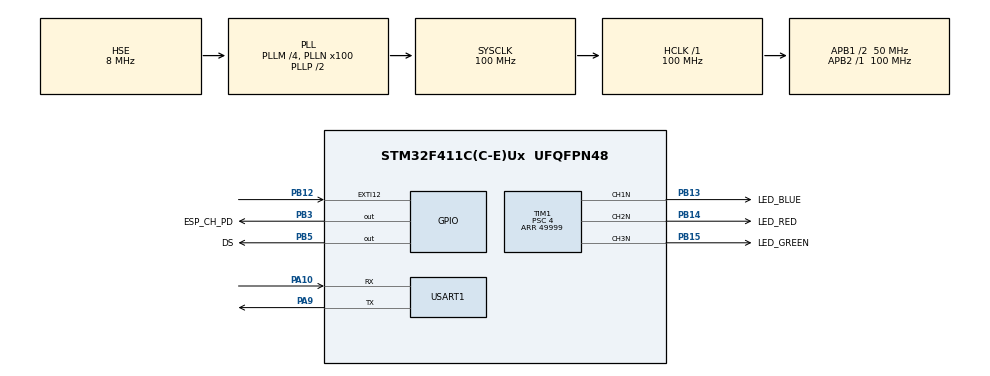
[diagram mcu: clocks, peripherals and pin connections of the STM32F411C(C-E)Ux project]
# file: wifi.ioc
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Mcu.Family=STM32F4
Mcu.Name=STM32F411C(C-E)Ux
Mcu.Package=UFQFPN48
NVIC.EXTI15_10_IRQn=true\:0\:0\:false\:false\:true\:true\:true
NVIC.PriorityGroup=NVIC_PRIORITYGROUP_4
NVIC.TIM2_IRQn=true\:0\:0\:false\:false\:true\:true\:true
NVIC.USART1_IRQn=true\:0\:0\:false\:false\:true\:true\:true
PA10.Mode=Asynchronous
PA10.Signal=USART1_RX
PA9.Mode=Asynchronous
PA9.Signal=USART1_TX
PB12.GPIO_ModeDefaultEXTI=GPIO_MODE_IT_RISING
PB12.Signal=GPXTI12
PB13.GPIO_Label=LED_BLUE
PB13.Mode=PWM Generation1 CH1N
PB13.Signal=TIM1_CH1N
PB14.GPIO_Label=LED_RED
PB14.Mode=PWM Generation2 CH2N
PB14.Signal=TIM1_CH2N
PB15.GPIO_Label=LED_GREEN
PB15.Mode=PWM Generation3 CH3N
PB15.Signal=TIM1_CH3N
PB3.GPIO_Label=ESP_CH_PD
PB3.PinState=GPIO_PIN_SET
PB3.Signal=GPIO_Output
PB5.GPIO_Label=DS
PB5.GPIO_ModeDefaultOutputPP=GPIO_MODE_OUTPUT_OD
PB5.PinState=GPIO_PIN_SET
PB5.Signal=GPIO_Output
PC14-OSC32_IN.Mode=LSE-External-Oscillator
PC14-OSC32_IN.Signal=RCC_OSC32_IN
PC15-OSC32_OUT.Mode=LSE-External-Oscillator
PC15-OSC32_OUT.Signal=RCC_OSC32_OUT
PH0\ -\ OSC_IN.Mode=HSE-External-Oscillator
PH0\ -\ OSC_IN.Signal=RCC_OSC_IN
PH1\ -\ OSC_OUT.Mode=HSE-External-Oscillator
PH1\ -\ OSC_OUT.Signal=RCC_OSC_OUT
ProjectManager.HeapSize=0x200
ProjectManager.StackSize=0x400
ProjectManager.TargetToolchain=STM32CubeIDE
RCC.48MHZClocksFreq_Value=50000000
RCC.AHBFreq_Value=100000000
RCC.APB1CLKDivider=RCC_HCLK_DIV2
RCC.APB1Freq_Value=50000000
RCC.APB1TimFreq_Value=100000000
RCC.APB2Freq_Value=100000000
RCC.APB2TimFreq_Value=100000000
RCC.CortexFreq_Value=100000000
RCC.HCLKFreq_Value=100000000
RCC.HSE_VALUE=8000000
RCC.HSI_VALUE=16000000
RCC.PLLM=4
RCC.PLLN=100
RCC.PLLSourceVirtual=RCC_PLLSOURCE_HSE
RCC.RCC_RTC_Clock_Source=RCC_RTCCLKSOURCE_LSE
RCC.RCC_RTC_Clock_SourceVirtual=RCC_RTCCLKSOURCE_LSE
RCC.SYSCLKFreq_VALUE=100000000
RCC.SYSCLKSource=RCC_SYSCLKSOURCE_PLLCLK
RCC.VCOOutputFreq_Value=200000000
TIM1.Channel-PWM\ Generation1\ CH1N=TIM_CHANNEL_1
TIM1.Channel-PWM\ Generation2\ CH2N=TIM_CHANNEL_2
TIM1.Channel-PWM\ Generation3\ CH3N=TIM_CHANNEL_3
TIM1.OCNPolarity_1=TIM_OCNPOLARITY_LOW
TIM1.OCNPolarity_2=TIM_OCNPOLARITY_LOW
TIM1.OCNPolarity_3=TIM_OCNPOLARITY_LOW
TIM1.Period=49999
TIM1.Prescaler=4
TIM2.Prescaler=79
USART1.VirtualMode=VM_ASYNC
VP_RTC_VS_RTC_Activate.Mode=RTC_Enabled
VP_RTC_VS_RTC_Calendar.Mode=RTC_Calendar
VP_TIM2_VS_ClockSourceINT.Mode=Internal
board=custom

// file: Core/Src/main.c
/* USER CODE BEGIN Header */
/**
  ******************************************************************************
  * @file           : main.c
  * @brief          : Main program body
  ******************************************************************************
  * @attention
  *
  * <h2><center>&copy; Copyright (c) 2021 STMicroelectronics.
  * All rights reserved.</center></h2>
  *
  * This software component is licensed by ST under BSD 3-Clause license,
  * the "License"; You may not use this file except in compliance with the
  * License. You may obtain a copy of the License at:
  *                        opensource.org/licenses/BSD-3-Clause
  *
  ******************************************************************************
  */
/* USER CODE END Header */
#include "main.h"
#include "rtc.h"
#include "tim.h"
#include "usart.h"
#include "gpio.h"

/* USER CODE BEGIN Includes */
#include "stdlib.h"
#include <string.h>
#include <stdio.h>
#include "math.h"
#include "esp.h"
#include "web.h"
#include "wire.h"
#include "ds18b20.h"

/* USER CODE END Includes */

/* USER CODE BEGIN PD */

// tutaj

/* USER CODE END PD */

/* USER CODE BEGIN PV */
typedef char log_line[41];

float temperature1;
float temperature2;
float result;
char temp_char_air[5];
char temp_char_water[5];
char esp_IP[1000]; //30
char IP_Request[20] = {"AT+CIPSTA?"};//AT+CIPSTA?
int ph = 'k'+1;
int interrupt_flag=0;
uint8_t flag=0;
uint8_t second_prev=0;
//int log_num=0;
//log_line log_tab[10]; // tablica logów
//char logg[40]="<p><b> --:--:-- , --:--:--</b> </p>\r\n";

uint8_t ds1[]={0x28,0x5e,0xe3,0xfb,0x0c,0x00,0x00,0xe9}; // adres termometru bez obudowy
uint8_t ds2[]={0x28,0xd5,0x7f,0xcc,0x2b,0x20,0x01,0xd2}; // adres termometru w obudowie
uint8_t moj_scratchpad[DS18B20_SCRATCHPAD_SIZE]; // testowy

RTC_HandleTypeDef hrtc;
RTC_TimeTypeDef sTime;
RTC_DateTypeDef sDate;

/* USER CODE END PV */

void SystemClock_Config(void);
/* USER CODE BEGIN PFP */

void Log_Time(void); // pobranie aktualnego czasu i wpisanie aktualnego loga

// tu powinna być tylko deklaracja funkcji, a poniżej maina jej ciało, no ale dobra
void HAL_GPIO_EXTI_Callback(uint16_t GPIO_Pin) // funkcja z redefinicji
{

	  Log_Time();
	//interrupt_flag=1;
	//interrupt++;

  /* NOTE: This function Should not be modified, when the callback is needed,
           the HAL_GPIO_EXTI_Callback could be implemented in the user file
   */
}

/* USER CODE END PFP */

/* USER CODE BEGIN 0 */

// Funkcja obliczająca korekcję gamma i ustawiająca jasność diody
void set_led_brightness(TIM_HandleTypeDef * timer,
		uint32_t channel, uint8_t brightness)
{
	int32_t value = powf((double) brightness / 255.0, 2.2) * 49999;
	__HAL_TIM_SET_COMPARE(timer, channel, value);
}
// Funkcja ustawiająca kolor świecenia diody RGB
void set_color(uint8_t, uint8_t, uint8_t);

/* USER CODE END 0 */

int main(void)
{
  /* USER CODE BEGIN 1 */

	int web_state = 0;

	//uint32_t sec;

  /* USER CODE END 1 */

  /* MCU Configuration--------------------------------------------------------*/

  /* Reset of all peripherals, Initializes the Flash interface and the Systick. */
  HAL_Init();

  /* Configure the system clock */
  SystemClock_Config();

  /* Initialize all configured peripherals */
  MX_GPIO_Init();
  MX_TIM1_Init();
  MX_USART1_UART_Init();
  MX_TIM2_Init();
  MX_RTC_Init();
  /* USER CODE BEGIN 2 */

  HAL_TIMEx_PWMN_Start(&htim1, TIM_CHANNEL_1);
  HAL_TIMEx_PWMN_Start(&htim1, TIM_CHANNEL_2);
  HAL_TIMEx_PWMN_Start(&htim1, TIM_CHANNEL_3);

  if(ds18b20_init() != HAL_OK) Error_Handler();
  //if(ds18b20_read_address(ds1)!= HAL_OK)Error_Handler(); // do odczytywania adresów czujników

  web_def(); // przepisanie stron internetowych

//  if (esp_setup(&huart1, "BUS OBSERWACYJNY 1504", "HUNDERTWASSERHAUS"))
//	  set_color(100, 100, 0);
//  else
//	  set_color(30, 30, 0);           //////// Docelowy router

  if (esp_setup(&huart1, "BUS OBSERWACYJNY 1504", "HUNDERTWASSERHAUS"))
	  set_color(100, 100, 0);
  else
	  set_color(30, 30, 0);

  ///HAL_Delay(500);
  //esp_send_data_and_close(&huart1, esp_recv_mux,IP_Request); //IP_Request
  //esp_getIP(&huart1,esp_IP);
  	///  esp_send_cmd(&huart1, &IP_Request);
	//esp_send_data_and_close(&huart1, esp_recv_mux, webpage); // dodałem, żeby wysyłało stronę zanim wejdzie do while
	//esp_restart_int_recv(&huart1);

  //  //set time
    if(HAL_RTCEx_BKUPRead(&hrtc,RTC_BKP_DR1) != 0x32F2) // próba zrobienia, żeby się nie resetowało
    {
    sTime.Hours = 13;
    sTime.Minutes = 23;
    sTime.Seconds = 30;
    HAL_RTC_SetTime(&hrtc,&sTime, RTC_FORMAT_BIN);
    }

    sDate.Date = 18;
    sDate.Month = RTC_MONTH_MARCH;
    sDate.WeekDay = RTC_WEEKDAY_MONDAY;
    sDate.Year = 22;
    HAL_RTC_SetDate(&hrtc,&sDate, RTC_FORMAT_BIN);

  /* USER CODE END 2 */

  /* Infinite loop */
  while (1)
  {

    /* USER CODE BEGIN 3 */

	  // Obsługujemy dane przychodzące przez połączenie TCP,
	  // jeśli w przerwaniu ustawiono flagę esp_recv_flag

//	  HAL_Delay(15000);
//	  esp_send_data_and_close(&huart1, esp_recv_mux, frontpage);
//	  HAL_Delay(15000);

	  if (esp_recv_flag == 1)
	  {
		select_web(&huart1, &web_state);
	  }

	  ds18b20_start_measure(ds1);
	  temperature1 = ds18b20_get_temp(ds1);
	  sprintf(temp_char_air,"%0.1f",temperature1);

	  ds18b20_start_measure(ds2);
	  temperature2 = ds18b20_get_temp(ds2);
	  sprintf(temp_char_water,"%0.1f",temperature2);

	  //strcat(&heizung[216], temp_char);
	  heizung[232] = temp_char_air[0];
	  heizung[233] = temp_char_air[1];
	  heizung[234] = temp_char_air[2];
	  heizung[235] = temp_char_air[3];

	  heizung[285] = temp_char_water[0];
	  heizung[286] = temp_char_water[1];
	  heizung[287] = temp_char_water[2];
	  heizung[288] = temp_char_water[3];

	  // sprawdź z ciekawości co jest w heizung[220...]
  }
  /* USER CODE END 3 */
}

void SystemClock_Config(void)
{
  RCC_OscInitTypeDef RCC_OscInitStruct = {0};
  RCC_ClkInitTypeDef RCC_ClkInitStruct = {0};

  /** Configure the main internal regulator output voltage
  */
  __HAL_RCC_PWR_CLK_ENABLE();
  __HAL_PWR_VOLTAGESCALING_CONFIG(PWR_REGULATOR_VOLTAGE_SCALE1);
  /** Initializes the RCC Oscillators according to the specified parameters
  * in the RCC_OscInitTypeDef structure.
  */
  RCC_OscInitStruct.OscillatorType = RCC_OSCILLATORTYPE_HSE|RCC_OSCILLATORTYPE_LSE;
  RCC_OscInitStruct.HSEState = RCC_HSE_ON;
  RCC_OscInitStruct.LSEState = RCC_LSE_ON;
  RCC_OscInitStruct.PLL.PLLState = RCC_PLL_ON;
  RCC_OscInitStruct.PLL.PLLSource = RCC_PLLSOURCE_HSE;
  RCC_OscInitStruct.PLL.PLLM = 4;
  RCC_OscInitStruct.PLL.PLLN = 100;
  RCC_OscInitStruct.PLL.PLLP = RCC_PLLP_DIV2;
  RCC_OscInitStruct.PLL.PLLQ = 4;
  if (HAL_RCC_OscConfig(&RCC_OscInitStruct) != HAL_OK)
  {
    Error_Handler();
  }
  /** Initializes the CPU, AHB and APB buses clocks
  */
  RCC_ClkInitStruct.ClockType = RCC_CLOCKTYPE_HCLK|RCC_CLOCKTYPE_SYSCLK
                              |RCC_CLOCKTYPE_PCLK1|RCC_CLOCKTYPE_PCLK2;
  RCC_ClkInitStruct.SYSCLKSource = RCC_SYSCLKSOURCE_PLLCLK;
  RCC_ClkInitStruct.AHBCLKDivider = RCC_SYSCLK_DIV1;
  RCC_ClkInitStruct.APB1CLKDivider = RCC_HCLK_DIV2;
  RCC_ClkInitStruct.APB2CLKDivider = RCC_HCLK_DIV1;

  if (HAL_RCC_ClockConfig(&RCC_ClkInitStruct, FLASH_LATENCY_3) != HAL_OK)
  {
    Error_Handler();
  }
}

/* USER CODE BEGIN 4 */

void Log_Time(void){

	int i=644;
	char seconds[3]={0,0,0};
	char minutes[3]={0,0,0};
	char hours[3]={0,0,0};
	char date[3]={0,0,0};
	char month[3]={0,0,0};
	char year[3]={0,0,0};

	  HAL_RTC_GetTime(&hrtc,&sTime, RTC_FORMAT_BIN);
	  HAL_RTC_GetDate(&hrtc,&sDate, RTC_FORMAT_BIN);

	  if(second_prev != sTime.Seconds){

		  itoa(sTime.Seconds,seconds,10);
		  itoa(sTime.Minutes,minutes,10);
		  itoa(sTime.Hours,hours,10);
		  itoa(sDate.Date,date,10);
		  itoa(sDate.Month,month,10);
		  itoa(sDate.Year,year,10);

		  if (seconds[1]=='\0'){
			  seconds[1]='0';
			 }
		  if(minutes[1]=='\0'){
			  minutes[1]='0';
			 }
		  if(hours[1]=='\0'){
			  hours[1]='0';
			 }
		  if(date[1]=='\0'){
			  date[1]='0';
			 }
		  if(month[1]=='\0'){
			  month[1]='0';
			 }
		  if(year[1]=='\0'){
			  year[1]='0';
			 }

	////////////// hours:minutes:seconds //////////////

		  if(sTime.Seconds < 10){
		  presence[298]=seconds[1];
		  presence[299]=seconds[0];
		  }
		  else{
			  presence[298]=seconds[0];
			  presence[299]=seconds[1];
		  }

		  if (sTime.Minutes < 10){
		  presence[295]=minutes[1];
		  presence[296]=minutes[0];
		  }
		  else{
			  presence[295]=minutes[0];
			  presence[296]=minutes[1];
		  }

		  if (sTime.Hours < 10){
		  presence[292]=hours[1];
		  presence[293]=hours[0];
		  }
		  else{
			  presence[292]=hours[0];
			  presence[293]=hours[1];
		  }

	///////// year:month:day ////////////////////////

		  if(sDate.Date < 10){
		  presence[287]=date[1];
		  presence[288]=date[0];
		  }
		  else{
			  presence[287]=date[0];
			  presence[288]=date[1];
		  }

		  if (sDate.Month < 10){
		  presence[284]=month[1];
		  presence[285]=month[0];
		  }
		  else{
			  presence[284]=month[0];
			  presence[285]=month[1];
		  }

		  if (sDate.Year < 10){
		  presence[281]=year[1];
		  presence[282]=year[0];
		  }
		  else{
			  presence[281]=year[0];
			  presence[282]=year[1];
		  }

	////// shift of logs //////////////////////// 311
		  while(i>311){
			  presence[i]=presence[i-37];
			  i--;
		  }
		  strcat((char*)presence[281],(char*)("YY:MM:DD , HH:MM:SS"));
		  presence[281]='Y';//(char)("YY:MM:DD , HH:MM:SS"); //{"YY:MM:DD , HH:MM:SS"} // (char)"Y"; //;

		  second_prev = sTime.Seconds;

	  }
	  //logi[65] = sTime.Seconds;

	  //strcat(presence, "<p><b>Obecnosc w pomieszczeniu:  </b> </p>\r\n");
	  //presence_page(UART_HandleTypeDef * uart ,*web_state);
	  //esp_send_data_and_close(&huart1, esp_recv_mux, presence);

	  //interrupt_flag=0;

}

void set_color(uint8_t red, uint8_t green, uint8_t blue)
{
	set_led_brightness(&htim1, TIM_CHANNEL_2, red);
	set_led_brightness(&htim1, TIM_CHANNEL_3, green);
	set_led_brightness(&htim1, TIM_CHANNEL_1, blue);
}

/* USER CODE END 4 */

void Error_Handler(void)
{
  __disable_irq();
  while (1)
  {
  }
}

/************************ (C) COPYRIGHT STMicroelectronics *****END OF FILE****/
